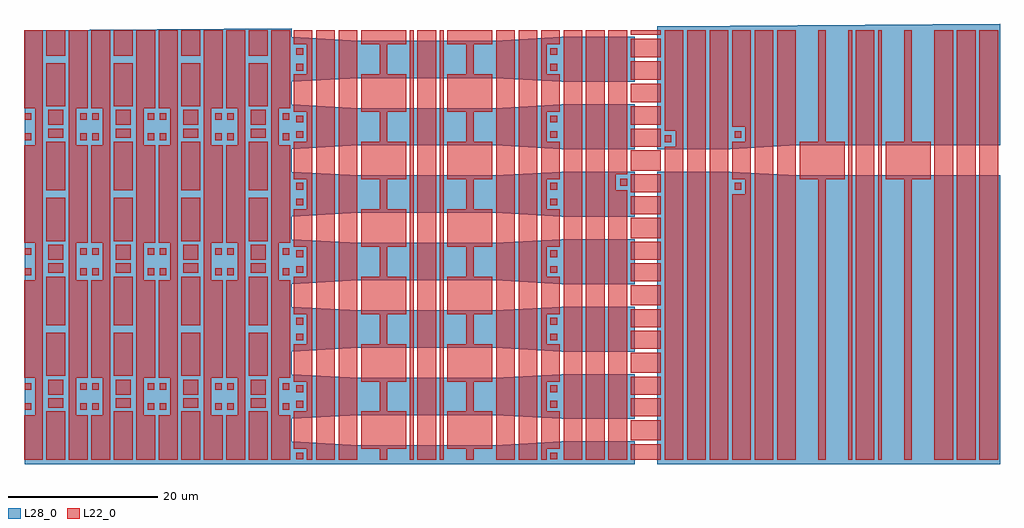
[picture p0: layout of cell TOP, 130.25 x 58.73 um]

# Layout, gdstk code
import gdstk
lib = gdstk.Library(unit=1e-6, precision=1e-09)
def R(c, l, rs):  # rectangles x0, y0, x1, y1
    for r in rs: c.add(gdstk.rectangle(r[:2], r[2:], *l))
def A(c, l, x, y, w, h, nx, ny, dx, dy):  # array of equal rectangles
    R(c, l, [(x+i*dx, y+j*dy, x+i*dx+w, y+j*dy+h) for i in range(nx) for j in range(ny)])
def P(c, l, *ps):  # polygons
    for p in ps: c.add(gdstk.Polygon(p, *l))
L22_0 = (22, 0)
L28_0 = (28, 0)

top = lib.new_cell('TOP')
A(top, L22_0, -127.25, -12.457, 2.5, 6.457, 4, 1, 9, 0)
A(top, L22_0, -88.25, -12.457, 2.5, 8.457, 3, 1, 10.5, 0)
A(top, L22_0, -58.25, -12.457, 2.5, 8.457, 3, 1, 3, 0)
A(top, L22_0, -44.75, -12.457, 2.5, 8.457, 6, 1, 3, 0)
A(top, L22_0, -8.75, -12.457, 2.5, 8.457, 3, 1, 3, 0)
A(top, L22_0, -126.95, -12, 0.9, 0.9, 4, 2, 9, 1.2)
A(top, L22_0, -24.25, -12, 1, 7, 1, 4, 0, 9)
A(top, L22_0, -12.75, -12, 1, 7, 1, 4, 0, 9)
A(top, L22_0, -85.25, -11, 6, 5, 1, 6, 0, 9)
A(top, L22_0, -73.75, -11, 6, 5, 1, 6, 0, 9)
A(top, L22_0, -49.25, -9.85, 4, 2.7, 1, 5, 0, 9)
A(top, L22_0, -127, -5.5, 2, 1.25, 4, 3, 9, 18)
A(top, L22_0, -126.45, -5.4, 0.9, 0.9, 4, 3, 9, 18)
A(top, L22_0, -91.25, -4, 2.5, 9, 1, 5, 0, 9)
A(top, L22_0, -88.25, -4, 2.5, 9, 3, 5, 10.5, 9)
A(top, L22_0, -78.75, -4, 0.5, 9, 1, 5, 0, 9)
A(top, L22_0, -74.75, -4, 0.5, 9, 1, 5, 0, 9)
A(top, L22_0, -64.25, -4, 2.5, 9, 1, 5, 0, 9)
A(top, L22_0, -58.25, -4, 2.5, 9, 3, 3, 3, 9)
A(top, L22_0, -44.75, -4, 2.5, 9, 6, 3, 3, 9)
A(top, L22_0, -20.25, -4, 0.5, 9, 1, 5, 0, 9)
A(top, L22_0, -19.25, -4, 2.5, 9, 1, 3, 0, 9)
A(top, L22_0, -16.25, -4, 0.5, 9, 1, 5, 0, 9)
A(top, L22_0, -8.75, -4, 2.5, 9, 3, 3, 3, 9)
A(top, L22_0, -127, -3.75, 2, 2, 4, 3, 9, 18)
A(top, L22_0, -126.5, -2.85, 0.9, 0.9, 4, 3, 9, 18)
A(top, L22_0, -127.25, -1.25, 2.5, 5.75, 4, 3, 9, 18)
A(top, L22_0, -126, 1.9, 0.9, 0.9, 4, 2, 9, 1.2)
A(top, L22_0, -127.25, 5.5, 2.5, 6.5, 4, 2, 9, 18)
A(top, L22_0, -126.95, 6, 0.9, 0.9, 4, 2, 9, 1.2)
A(top, L22_0, -126, 19.9, 0.9, 0.9, 4, 2, 9, 1.2)
A(top, L22_0, -29.75, 23, 2.5, 9, 3, 1, 10.5, 0)
A(top, L22_0, -126.95, 24, 0.9, 0.9, 4, 2, 9, 1.2)
A(top, L22_0, -58.25, 32, 2.5, 9, 3, 1, 3, 0)
A(top, L22_0, -44.75, 32, 2.5, 9, 6, 1, 3, 0)
A(top, L22_0, -8.75, 32, 2.5, 9, 3, 1, 3, 0)
A(top, L22_0, -49.25, 32.25, 4, 2.5, 1, 4, 0, 3)
A(top, L22_0, -126, 37.9, 0.9, 0.9, 4, 2, 9, 1.2)
A(top, L22_0, -103.25, 41, 2.5, 3.9, 3, 1, 6, 0)
A(top, L22_0, -88.25, 41, 2.5, 3.9, 3, 1, 10.5, 0)
A(top, L22_0, -58.25, 41, 2.5, 3.9, 3, 1, 3, 0)
A(top, L22_0, -44.75, 41, 2.5, 3.9, 6, 1, 3, 0)
A(top, L22_0, -8.75, 41, 2.5, 3.9, 3, 1, 3, 0)
A(top, L22_0, -127.25, 41.5, 2.5, 3.4, 4, 1, 9, 0)
A(top, L22_0, -126.95, 42, 0.9, 0.9, 4, 2, 9, 1.2)
R(top, L22_0, [(-91.25,-12.457,-88.75,-4), (-82.75,-12.457,-81.75,-11), (-78.75,-12.457,-78.25,-4), (-74.75,-12.457,-74.25,-4), (-71.25,-12.457,-70.25,-11), (-64.25,-12.457,-61.75,-4), (-49.25,-12.457,-45.25,-10.35), (-24.25,-12.457,-23.25,-12), (-20.25,-12.457,-19.75,-4), (-19.25,-12.457,-16.75,-4), (-16.25,-12.457,-15.75,-4), (-12.75,-12.457,-11.75,-12), (-93.9,-12.4,-93,-11.5), (-60,-12.4,-59.1,-11.5), (-49.25,-6.65,-45.25,-4.25), (-82.75,-6,-81.75,-4), (-71.25,-6,-70.25,-4), (-130.15,-5.8,-129.25,-4.9), (-122.75,-5.8,-121.85,-4.9), (-121.15,-5.8,-120.25,-4.9), (-113.75,-5.8,-112.85,-4.9), (-112.15,-5.8,-111.25,-4.9), (-104.75,-5.8,-103.85,-4.9), (-103.15,-5.8,-102.25,-4.9), (-95.75,-5.8,-94.85,-4.9), (-93.9,-5.5,-93,-4.6), (-60,-5.5,-59.1,-4.6), (-24.25,-5,-23.25,-4), (-12.75,-5,-11.75,-4), (-82.75,-4,-81.75,-2), (-71.25,-4,-70.25,-2), (-24.25,-4,-23.25,-3), (-12.75,-4,-11.75,-3), (-49.25,-3.75,-45.25,-1.35), (-93.9,-3.4,-93,-2.5), (-60,-3.4,-59.1,-2.5), (-130.15,-3.1,-129.25,-2.2), (-122.75,-3.1,-121.85,-2.2), (-121.15,-3.1,-120.25,-2.2), (-113.75,-3.1,-112.85,-2.2), (-112.15,-3.1,-111.25,-2.2), (-104.75,-3.1,-103.85,-2.2), (-103.15,-3.1,-102.25,-2.2), (-95.75,-3.1,-94.85,-2.2), (-49.25,2.35,-45.25,4.75), (-82.75,3,-81.75,5), (-71.25,3,-70.25,5), (-93.9,3.5,-93,4.4), (-60,3.5,-59.1,4.4), (-24.25,4,-23.25,5), (-12.75,4,-11.75,5), (-82.75,5,-81.75,7), (-71.25,5,-70.25,7), (-24.25,5,-23.25,6), (-12.75,5,-11.75,6), (-49.25,5.25,-45.25,7.65), (-93.9,5.6,-93,6.5), (-60,5.6,-59.1,6.5), (-49.25,11.35,-45.25,13.75), (-82.75,12,-81.75,14), (-71.25,12,-70.25,14), (-130.15,12.2,-129.25,13.1), (-122.75,12.2,-121.85,13.1), (-121.15,12.2,-120.25,13.1), (-113.75,12.2,-112.85,13.1), (-112.15,12.2,-111.25,13.1), (-104.75,12.2,-103.85,13.1), (-103.15,12.2,-102.25,13.1), (-95.75,12.2,-94.85,13.1), (-93.9,12.5,-93,13.4), (-60,12.5,-59.1,13.4), (-24.25,13,-23.25,14), (-12.75,13,-11.75,14), (-82.75,14,-81.75,16), (-71.25,14,-70.25,16), (-24.25,14,-23.25,15), (-12.75,14,-11.75,15), (-49.25,14.25,-45.25,16.65), (-93.9,14.6,-93,15.5), (-60,14.6,-59.1,15.5), (-130.15,14.9,-129.25,15.8), (-122.75,14.9,-121.85,15.8), (-121.15,14.9,-120.25,15.8), (-113.75,14.9,-112.85,15.8), (-112.15,14.9,-111.25,15.8), (-104.75,14.9,-103.85,15.8), (-103.15,14.9,-102.25,15.8), (-95.75,14.9,-94.85,15.8), (-49.25,20.35,-45.25,22.75), (-82.75,21,-81.75,23), (-71.25,21,-70.25,23), (-93.9,21.5,-93,22.4), (-60,21.5,-59.1,22.4), (-24.25,22,-23.25,23), (-12.75,22,-11.75,23), (-82.75,23,-81.75,25), (-71.25,23,-70.25,25), (-58.25,23,-55.75,32), (-55.25,23,-52.75,32), (-41.75,23,-39.25,32), (-38.75,23,-36.25,32), (-32.75,23,-30.25,32), (-24.25,23,-23.25,25), (-12.75,23,-11.75,25), (-5.75,23,-3.25,32), (-2.75,23,-0.25,32), (-49.25,23.25,-45.25,25.65), (-93.9,23.6,-93,24.5), (-60,23.6,-59.1,24.5), (-35.4,23.6,-34.5,24.5), (-50.65,24.15,-49.75,25.05), (-26.75,25,-20.75,30), (-15.25,25,-9.25,30), (-49.25,29.35,-45.25,31.75), (-44.75,29.95,-43.85,30.85), (-82.75,30,-81.75,32), (-71.25,30,-70.25,32), (-24.25,30,-23.25,32), (-12.75,30,-11.75,32), (-130.15,30.2,-129.25,31.1), (-122.75,30.2,-121.85,31.1), (-121.15,30.2,-120.25,31.1), (-113.75,30.2,-112.85,31.1), (-112.15,30.2,-111.25,31.1), (-104.75,30.2,-103.85,31.1), (-103.15,30.2,-102.25,31.1), (-95.75,30.2,-94.85,31.1), (-93.9,30.5,-93,31.4), (-60,30.5,-59.1,31.4), (-35.4,30.5,-34.5,31.4), (-82.75,32,-81.75,34), (-71.25,32,-70.25,34), (-24.25,32,-23.25,33), (-19.25,32,-16.75,41), (-12.75,32,-11.75,33), (-93.9,32.6,-93,33.5), (-60,32.6,-59.1,33.5), (-130.15,32.9,-129.25,33.8), (-122.75,32.9,-121.85,33.8), (-121.15,32.9,-120.25,33.8), (-113.75,32.9,-112.85,33.8), (-112.15,32.9,-111.25,33.8), (-104.75,32.9,-103.85,33.8), (-103.15,32.9,-102.25,33.8), (-95.75,32.9,-94.85,33.8), (-24.25,33,-23.25,40), (-12.75,33,-11.75,40), (-82.75,39,-81.75,41), (-71.25,39,-70.25,41), (-93.9,39.5,-93,40.4), (-60,39.5,-59.1,40.4), (-24.25,40,-23.25,41), (-12.75,40,-11.75,41), (-130.25,41,-127.75,44.9), (-124.25,41,-121.75,44.9), (-121.25,41,-118.75,44.9), (-115.25,41,-112.75,44.9), (-112.25,41,-109.75,44.9), (-106.25,41,-103.75,44.9), (-82.75,41,-81.75,43), (-78.75,41,-78.25,44.9), (-74.75,41,-74.25,44.9), (-71.25,41,-70.25,43), (-64.25,41,-61.75,44.9), (-24.25,41,-23.25,42), (-20.25,41,-19.75,44.9), (-19.25,41,-16.75,44.9), (-16.25,41,-15.75,44.9), (-12.75,41,-11.75,42), (-93.9,41.6,-93,42.5), (-60,41.6,-59.1,42.5), (-24.25,42,-23.25,44.9), (-12.75,42,-11.75,44.9), (-85.25,43,-79.25,44.9), (-73.75,43,-67.75,44.9), (-49.25,44.25,-45.25,44.9)])
P(top, L22_0, [(-92.5,41),(-92.5,43),(-94.25,43),(-94.25,44.9),(-91.75,44.9),(-91.75,41)],
  [(-61.25,41),(-61.25,44.9),(-58.75,44.9),(-58.75,43),(-60.5,43),(-60.5,41)],
  [(-115.25,-12.457),(-115.25,-4),(-114.25,-4),(-114.25,-6.5),(-112.75,-6.5),(-112.75,-12.457)],
  [(-130.25,-12.457),(-130.25,-6.5),(-128.75,-6.5),(-128.75,-4),(-127.75,-4),(-127.75,-12.457)],
  [(-121.25,-12.457),(-121.25,-6.5),(-119.75,-6.5),(-119.75,-4),(-118.75,-4),(-118.75,-12.457)],
  [(-124.25,-12.457),(-124.25,-4),(-123.25,-4),(-123.25,-6.5),(-121.75,-6.5),(-121.75,-12.457)],
  [(-103.25,-12.457),(-103.25,-6.5),(-101.75,-6.5),(-101.75,-4),(-100.75,-4),(-100.75,-12.457)],
  [(-112.25,-12.457),(-112.25,-6.5),(-110.75,-6.5),(-110.75,-4),(-109.75,-4),(-109.75,-12.457)],
  [(-106.25,-12.457),(-106.25,-4),(-105.25,-4),(-105.25,-6.5),(-103.75,-6.5),(-103.75,-12.457)],
  [(-97.25,-12.457),(-97.25,-4),(-96.25,-4),(-96.25,-6.5),(-94.75,-6.5),(-94.75,-12.457)],
  [(-92.5,-12.457),(-92.5,-11),(-94.25,-11),(-94.25,-6),(-92.5,-6),(-92.5,-4),(-91.75,-4),(-91.75,-12.457)],
  [(-61.25,-12.457),(-61.25,-4),(-60.5,-4),(-60.5,-6),(-58.75,-6),(-58.75,-11),(-60.5,-11),(-60.5,-12.457)],
  [(-128.75,14),(-128.75,16.5),(-130.25,16.5),(-130.25,23),(-127.75,23),(-127.75,14)],
  [(-130.25,23),(-130.25,29.5),(-128.75,29.5),(-128.75,32),(-127.75,32),(-127.75,23)],
  [(-128.75,-4),(-128.75,-1.5),(-130.25,-1.5),(-130.25,5),(-127.75,5),(-127.75,-4)],
  [(-128.75,32),(-128.75,34.5),(-130.25,34.5),(-130.25,41),(-127.75,41),(-127.75,32)],
  [(-124.25,-4),(-124.25,5),(-121.75,5),(-121.75,-1.5),(-123.25,-1.5),(-123.25,-4)],
  [(-130.25,5),(-130.25,11.5),(-128.75,11.5),(-128.75,14),(-127.75,14),(-127.75,5)],
  [(-119.75,14),(-119.75,16.5),(-121.25,16.5),(-121.25,23),(-118.75,23),(-118.75,14)],
  [(-121.25,23),(-121.25,29.5),(-119.75,29.5),(-119.75,32),(-118.75,32),(-118.75,23)],
  [(-119.75,32),(-119.75,34.5),(-121.25,34.5),(-121.25,41),(-118.75,41),(-118.75,32)],
  [(-119.75,-4),(-119.75,-1.5),(-121.25,-1.5),(-121.25,5),(-118.75,5),(-118.75,-4)],
  [(-121.25,5),(-121.25,11.5),(-119.75,11.5),(-119.75,14),(-118.75,14),(-118.75,5)],
  [(-124.25,5),(-124.25,14),(-123.25,14),(-123.25,11.5),(-121.75,11.5),(-121.75,5)],
  [(-124.25,14),(-124.25,23),(-121.75,23),(-121.75,16.5),(-123.25,16.5),(-123.25,14)],
  [(-124.25,23),(-124.25,32),(-123.25,32),(-123.25,29.5),(-121.75,29.5),(-121.75,23)],
  [(-124.25,32),(-124.25,41),(-121.75,41),(-121.75,34.5),(-123.25,34.5),(-123.25,32)],
  [(-115.25,-4),(-115.25,5),(-112.75,5),(-112.75,-1.5),(-114.25,-1.5),(-114.25,-4)],
  [(-101.75,14),(-101.75,16.5),(-103.25,16.5),(-103.25,23),(-100.75,23),(-100.75,14)],
  [(-110.75,-4),(-110.75,-1.5),(-112.25,-1.5),(-112.25,5),(-109.75,5),(-109.75,-4)],
  [(-106.25,-4),(-106.25,5),(-103.75,5),(-103.75,-1.5),(-105.25,-1.5),(-105.25,-4)],
  [(-112.25,5),(-112.25,11.5),(-110.75,11.5),(-110.75,14),(-109.75,14),(-109.75,5)],
  [(-106.25,5),(-106.25,14),(-105.25,14),(-105.25,11.5),(-103.75,11.5),(-103.75,5)],
  [(-110.75,14),(-110.75,16.5),(-112.25,16.5),(-112.25,23),(-109.75,23),(-109.75,14)],
  [(-106.25,14),(-106.25,23),(-103.75,23),(-103.75,16.5),(-105.25,16.5),(-105.25,14)],
  [(-101.75,-4),(-101.75,-1.5),(-103.25,-1.5),(-103.25,5),(-100.75,5),(-100.75,-4)],
  [(-112.25,23),(-112.25,29.5),(-110.75,29.5),(-110.75,32),(-109.75,32),(-109.75,23)],
  [(-106.25,23),(-106.25,32),(-105.25,32),(-105.25,29.5),(-103.75,29.5),(-103.75,23)],
  [(-110.75,32),(-110.75,34.5),(-112.25,34.5),(-112.25,41),(-109.75,41),(-109.75,32)],
  [(-106.25,32),(-106.25,41),(-103.75,41),(-103.75,34.5),(-105.25,34.5),(-105.25,32)],
  [(-97.25,-4),(-97.25,5),(-94.75,5),(-94.75,-1.5),(-96.25,-1.5),(-96.25,-4)],
  [(-97.25,5),(-97.25,14),(-96.25,14),(-96.25,11.5),(-94.75,11.5),(-94.75,5)],
  [(-97.25,14),(-97.25,23),(-94.75,23),(-94.75,16.5),(-96.25,16.5),(-96.25,14)],
  [(-97.25,23),(-97.25,32),(-96.25,32),(-96.25,29.5),(-94.75,29.5),(-94.75,23)],
  [(-97.25,32),(-97.25,41),(-94.75,41),(-94.75,34.5),(-96.25,34.5),(-96.25,32)],
  [(-115.25,5),(-115.25,14),(-114.25,14),(-114.25,11.5),(-112.75,11.5),(-112.75,5)],
  [(-115.25,14),(-115.25,23),(-112.75,23),(-112.75,16.5),(-114.25,16.5),(-114.25,14)],
  [(-103.25,5),(-103.25,11.5),(-101.75,11.5),(-101.75,14),(-100.75,14),(-100.75,5)],
  [(-115.25,23),(-115.25,32),(-114.25,32),(-114.25,29.5),(-112.75,29.5),(-112.75,23)],
  [(-101.75,32),(-101.75,34.5),(-103.25,34.5),(-103.25,41),(-100.75,41),(-100.75,32)],
  [(-115.25,32),(-115.25,41),(-112.75,41),(-112.75,34.5),(-114.25,34.5),(-114.25,32)],
  [(-103.25,23),(-103.25,29.5),(-101.75,29.5),(-101.75,32),(-100.75,32),(-100.75,23)],
  [(-92.5,-4),(-92.5,-2),(-94.25,-2),(-94.25,3),(-92.5,3),(-92.5,5),(-91.75,5),(-91.75,-4)],
  [(-92.5,5),(-92.5,7),(-94.25,7),(-94.25,12),(-92.5,12),(-92.5,14),(-91.75,14),(-91.75,5)],
  [(-92.5,14),(-92.5,16),(-94.25,16),(-94.25,21),(-92.5,21),(-92.5,23),(-91.75,23),(-91.75,14)],
  [(-92.5,23),(-92.5,25),(-94.25,25),(-94.25,30),(-92.5,30),(-92.5,32),(-91.75,32),(-91.75,23)],
  [(-92.5,32),(-92.5,34),(-94.25,34),(-94.25,39),(-92.5,39),(-92.5,41),(-91.75,41),(-91.75,32)],
  [(-61.25,-4),(-61.25,5),(-60.5,5),(-60.5,3),(-58.75,3),(-58.75,-2),(-60.5,-2),(-60.5,-4)],
  [(-61.25,5),(-61.25,14),(-60.5,14),(-60.5,12),(-58.75,12),(-58.75,7),(-60.5,7),(-60.5,5)],
  [(-61.25,14),(-61.25,23),(-60.5,23),(-60.5,21),(-58.75,21),(-58.75,16),(-60.5,16),(-60.5,14)],
  [(-61.25,23),(-61.25,32),(-60.5,32),(-60.5,30),(-58.75,30),(-58.75,25),(-60.5,25),(-60.5,23)],
  [(-61.25,32),(-61.25,41),(-60.5,41),(-60.5,39),(-58.75,39),(-58.75,34),(-60.5,34),(-60.5,32)],
  [(-44.75,23),(-44.75,29.35),(-43.25,29.35),(-43.25,31.45),(-44.75,31.45),(-44.75,32),(-42.25,32),(-42.25,23)],
  [(-34,23),(-34,25),(-35.75,25),(-35.75,30),(-34,30),(-34,32),(-33.25,32),(-33.25,23)],
  [(-52.25,23),(-52.25,32),(-49.75,32),(-49.75,25.65),(-51.25,25.65),(-51.25,23.55),(-49.75,23.55),(-49.75,23)])
A(top, L28_0, -121.5, -13.011, 9, 0.011, 4, 1, 9, 0)
A(top, L28_0, -130.172, -13, 8.672, 18, 1, 3, 0, 18)
A(top, L28_0, -121.5, -13, 9, 18, 3, 3, 9, 18)
A(top, L28_0, -45.75, -13, 9.75, 9, 1, 4, 0, 9)
A(top, L28_0, -36, -13, 9, 9, 1, 4, 0, 9)
A(top, L28_0, -27, -13, 18, 9, 1, 4, 0, 9)
A(top, L28_0, -9, -13, 9, 9, 1, 4, 0, 9)
R(top, L28_0, [(-130.172,-13.011,-121.5,-13), (-95,-13.011,-94.5,-13), (-85.5,-13.011,-67.5,-13), (-67.5,-13.011,-58.5,-13), (-58.5,-13.011,-48.75,-13), (-45.75,-13.011,-36,-13), (-36,-13.011,-27,-13), (-27,-13.011,-9,-13), (-9,-13.011,0,-13), (-95,-13,-94.5,-10), (-85.5,-13,-67.5,-10.5), (-58.5,-13,-48.75,-10), (-93.9,-12.4,-93,-11.5), (-60,-12.4,-59.1,-11.5), (-95,-7,-94.5,-4), (-58.5,-7,-48.75,-4), (-85.5,-6.5,-67.5,-4), (-93.9,-5.5,-93,-4.6), (-60,-5.5,-59.1,-4.6), (-95,-4,-94.5,-1), (-85.5,-4,-67.5,-1.5), (-58.5,-4,-48.75,-1), (-93.9,-3.4,-93,-2.5), (-60,-3.4,-59.1,-2.5), (-95,2,-94.5,5), (-58.5,2,-48.75,5), (-85.5,2.5,-67.5,5), (-93.9,3.5,-93,4.4), (-60,3.5,-59.1,4.4), (-95,5,-94.5,8), (-85.5,5,-67.5,7.5), (-58.5,5,-48.75,8), (-93.9,5.6,-93,6.5), (-60,5.6,-59.1,6.5), (-95,11,-94.5,14), (-58.5,11,-48.75,14), (-85.5,11.5,-67.5,14), (-93.9,12.5,-93,13.4), (-60,12.5,-59.1,13.4), (-95,14,-94.5,17), (-85.5,14,-67.5,16.5), (-58.5,14,-48.75,17), (-93.9,14.6,-93,15.5), (-60,14.6,-59.1,15.5), (-95,20,-94.5,23), (-58.5,20,-48.75,23), (-85.5,20.5,-67.5,23), (-93.9,21.5,-93,22.4), (-60,21.5,-59.1,22.4), (-95,23,-94.5,26), (-85.5,23,-67.5,25.5), (-58.5,23,-48.75,26), (-45.75,23,-36,26), (-27,23,-9,25.5), (-9,23,0,25.5), (-93.9,23.6,-93,24.5), (-60,23.6,-59.1,24.5), (-35.4,23.6,-34.5,24.5), (-50.65,24.15,-49.75,25.05), (-95,29,-94.5,32), (-58.5,29,-48.75,32), (-45.75,29,-36,32), (-85.5,29.5,-67.5,32), (-27,29.5,-9,32), (-9,29.5,0,32), (-44.75,29.95,-43.85,30.85), (-93.9,30.5,-93,31.4), (-60,30.5,-59.1,31.4), (-35.4,30.5,-34.5,31.4), (-95,32,-94.5,35), (-85.5,32,-67.5,34.5), (-58.5,32,-48.75,35), (-45.75,32,-36,41), (-36,32,-27,41), (-27,32,-9,41), (-9,32,0,41), (-93.9,32.6,-93,33.5), (-60,32.6,-59.1,33.5), (-95,38,-94.5,41), (-58.5,38,-48.75,41), (-85.5,38.5,-67.5,41), (-93.9,39.5,-93,40.4), (-60,39.5,-59.1,40.4), (-95,41,-94.5,44), (-85.5,41,-67.5,43.5), (-58.5,41,-48.75,44), (-93.9,41.6,-93,42.5), (-60,41.6,-59.1,42.5)])
P(top, L28_0, [(-130.172,41),(-130.172,44.91),(-121.5,44.963),(-121.5,41)],
  [(-9,41),(-9,45.659),(0,45.714),(0,41)],
  [(-103.5,41),(-103.5,45.074),(-94.5,45.13),(-94.5,41)],
  [(-121.5,41),(-121.5,44.963),(-112.5,45.019),(-112.5,41)],
  [(-112.5,41),(-112.5,45.019),(-103.5,45.074),(-103.5,41)],
  [(-27,41),(-27,45.547),(-9,45.659),(-9,41)],
  [(-36,41),(-36,45.492),(-27,45.547),(-27,41)],
  [(-45.75,41),(-45.75,45.431),(-36,45.492),(-36,41)],
  [(-67.5,-4),(-67.5,-1.5),(-58.5,-1),(-58.5,-4)],
  [(-58.5,2),(-67.5,2.5),(-67.5,5),(-58.5,5)],
  [(-67.5,5),(-67.5,7.5),(-58.5,8),(-58.5,5)],
  [(-58.5,11),(-67.5,11.5),(-67.5,14),(-58.5,14)],
  [(-67.5,14),(-67.5,16.5),(-58.5,17),(-58.5,14)],
  [(-58.5,20),(-67.5,20.5),(-67.5,23),(-58.5,23)],
  [(-67.5,23),(-67.5,25.5),(-58.5,26),(-58.5,23)],
  [(-58.5,29),(-67.5,29.5),(-67.5,32),(-58.5,32)],
  [(-67.5,32),(-67.5,34.5),(-58.5,35),(-58.5,32)],
  [(-58.5,38),(-67.5,38.5),(-67.5,41),(-58.5,41)],
  [(-67.5,41),(-67.5,43.5),(-58.5,44),(-58.5,41)],
  [(-67.5,-13),(-67.5,-10.5),(-58.5,-10),(-58.5,-13)],
  [(-58.5,-7),(-67.5,-6.5),(-67.5,-4),(-58.5,-4)],
  [(-94.5,-13),(-94.5,-10),(-85.5,-10.5),(-85.5,-13)],
  [(-94.5,-7),(-94.5,-4),(-85.5,-4),(-85.5,-6.5)],
  [(-94.5,-4),(-94.5,-1),(-85.5,-1.5),(-85.5,-4)],
  [(-94.5,2),(-94.5,5),(-85.5,5),(-85.5,2.5)],
  [(-94.5,5),(-94.5,8),(-85.5,7.5),(-85.5,5)],
  [(-94.5,11),(-94.5,14),(-85.5,14),(-85.5,11.5)],
  [(-94.5,14),(-94.5,17),(-85.5,16.5),(-85.5,14)],
  [(-94.5,20),(-94.5,23),(-85.5,23),(-85.5,20.5)],
  [(-94.5,23),(-94.5,26),(-85.5,25.5),(-85.5,23)],
  [(-94.5,29),(-94.5,32),(-85.5,32),(-85.5,29.5)],
  [(-94.5,32),(-94.5,35),(-85.5,34.5),(-85.5,32)],
  [(-94.5,38),(-94.5,41),(-85.5,41),(-85.5,38.5)],
  [(-94.5,41),(-94.5,44),(-85.5,43.5),(-85.5,41)],
  [(-36,29),(-36,32),(-27,32),(-27,29.5)],
  [(-36,23),(-36,26),(-27,25.5),(-27,23)])

lib.write_gds('TOP.gds')
